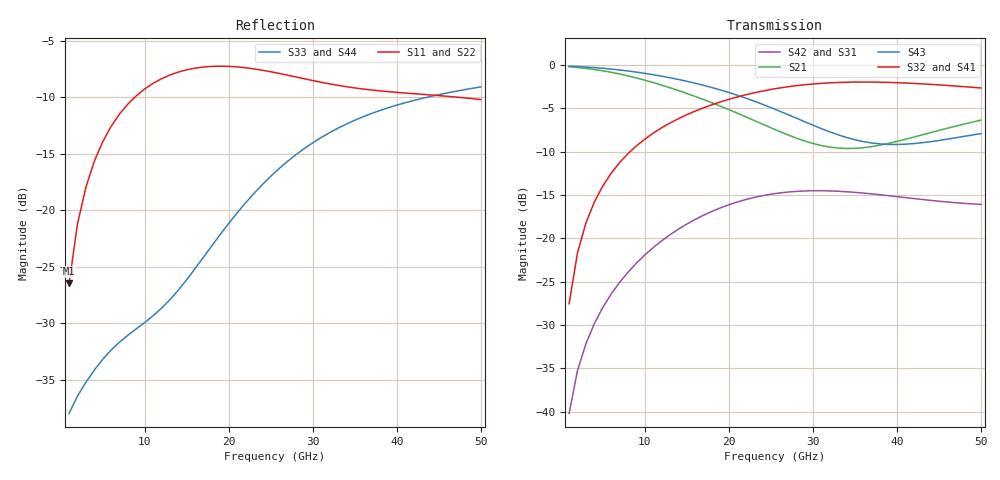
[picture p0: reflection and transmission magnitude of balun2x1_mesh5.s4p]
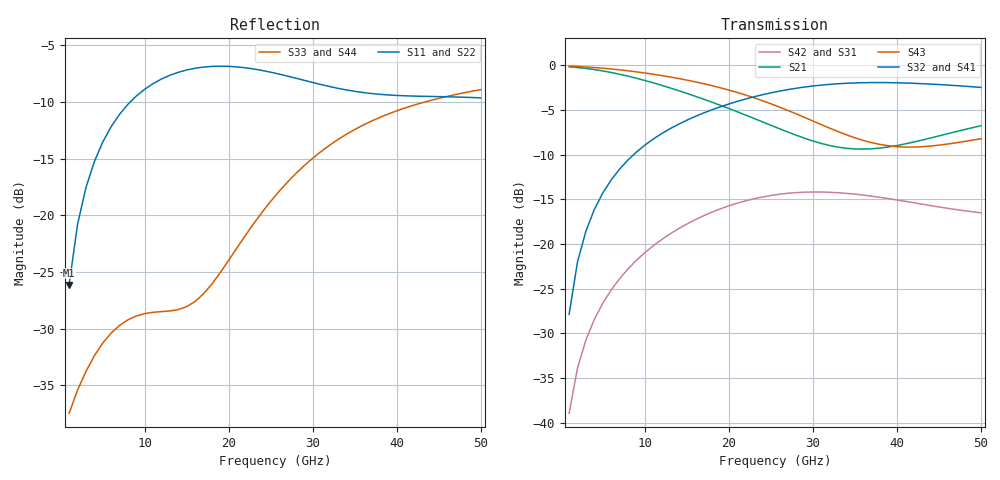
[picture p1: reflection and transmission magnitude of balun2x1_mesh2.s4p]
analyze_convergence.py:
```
#!/usr/bin/env python
"""Mesh convergence analysis for the balun2x1 edge-coupled balun (4-port,
no center tap). Local port order [1:primary+, 2:primary-, 3:secondary+,
4:secondary-] maps directly onto ports 1-4 (PP,PN,S1,S2) -- no port
elimination/dropping is needed here, unlike the 5-port transformer study.

This is a 2:1 turns-ratio balun with real intended system impedances of
Z01=200 ohm differential on the primary and Z02=50 ohm differential on
the secondary (200/50=4, matching the turns ratio squared) -- NOT the
naive 2x50=100 ohm value the raw port_Z0=50.0 single-ended ports would
suggest for a 1:1 structure. Mixed-mode Sdd11/Sdd21/Sdd22 below are
therefore computed at this real, asymmetric reference: the native 4-port
Z-matrix is reduced to the differential-equivalent 2-port
(Zaa,Zab,Zba,Zbb) by antisymmetric combination across each port pair,
then converted to S-parameters via the standard unequal-reference-
impedance 2-port Z->S formula (a real-valued, unambiguous conversion --
not a mixed-mode port-ordering ambiguity):

    Zaa = Z11-Z12-Z21+Z22   (primary)
    Zab = Z13-Z14-Z23+Z24
    Zba = Z31-Z32-Z41+Z42   (== Zab by reciprocity)
    Zbb = Z33-Z34-Z43+Z44

    D     = (Zaa+Z01)*(Zbb+Z02) - Zab*Zba
    Sdd11 = ((Zaa-Z01)*(Zbb+Z02) - Zab*Zba) / D
    Sdd22 = ((Zaa+Z01)*(Zbb-Z02) - Zab*Zba) / D
    Sdd21 = 2*Zba*sqrt(Z01*Z02) / D

(Sanity check: setting Z01=Z02=100 instead reproduces the naive uniform
Bockelman-Eisenstadt Sdd11=0.5*(S11-S12-S21+S22) etc. -- appropriate for
a 1:1 structure like the transformer study -- to within ~1e-4, confirming
this general formula before trusting it at the real Z01=200/Z02=50
asymmetric reference used here.)

See differential_input_impedance.py for the floating-load input
impedance under the same real 50 ohm secondary load, viewed at the same
200 ohm primary reference.

Reads de-embedded 4-port Touchstone files from results/snp/, computes
delta-S tables and overlay plots across mesh variants (order=2 uniform
sweep + AMR), following the same convention as the other mesh
convergence studies in this repo.
"""
import os
import csv
import numpy as np
import skrf as rf
import matplotlib
matplotlib.use("Agg")
import matplotlib.pyplot as plt

HERE = os.path.dirname(os.path.abspath(__file__))
SNP_DIR = os.path.join(HERE, "snp")
PLOT_DIR = os.path.join(HERE, "plots")

UNIFORM_SERIES = [
    ("mesh5", "5 um (uniform)", "balun2x1_mesh5.s4p"),
    ("mesh2", "2 um (uniform)", "balun2x1_mesh2.s4p"),
    ("mesh1", "1 um (uniform)", "balun2x1_mesh1.s4p"),
]
AMR_ENTRY = ("amr2", "AMR (5 um start, 2 it.)", "balun2x1_amr2_final.s4p")

EVAL_FREQS_GHZ = [1, 25, 50]  # sweep edges + midpoint, matches the 1-50 GHz sweep


def load(entry):
    key, label, fname = entry
    path = os.path.join(SNP_DIR, fname)
    if not os.path.isfile(path):
        return None
    nw = rf.Network(path)
    nw.name = label
    return key, label, nw


def db(x):
    return 20 * np.log10(np.abs(x))


def deg(x):
    return np.angle(x, deg=True)


def max_delta_linear(fa, xa, fb, xb):
    common = np.intersect1d(fa, fb)
    if common.size == 0:
        return None
    ia = np.searchsorted(fa, common)
    ib = np.searchsorted(fb, common)
    return float(np.max(np.abs(xb[ib] - xa[ia])))


def delta_db_at_freq(fa, xa, fb, xb, freq_hz):
    ia = int(np.argmin(np.abs(fa - freq_hz)))
    ib = int(np.argmin(np.abs(fb - freq_hz)))
    if abs(fa[ia] - freq_hz) > 0.6e9 or abs(fb[ib] - freq_hz) > 0.6e9:
        return None
    return float(abs(db(xb[ib]) - db(xa[ia])))


PARAMS = ["Sdd11", "Sdd21", "Sdd22"]

Z01 = 200.0  # primary differential reference -- the balun's actual intended system impedance
Z02 = 50.0   # secondary differential reference -- the balun's actual intended system impedance


def sdd_traces(nw, z01=Z01, z02=Z02):
    Z = nw.z
    Zaa = Z[:, 0, 0] - Z[:, 0, 1] - Z[:, 1, 0] + Z[:, 1, 1]
    Zab = Z[:, 0, 2] - Z[:, 0, 3] - Z[:, 1, 2] + Z[:, 1, 3]
    Zba = Z[:, 2, 0] - Z[:, 2, 1] - Z[:, 3, 0] + Z[:, 3, 1]
    Zbb = Z[:, 2, 2] - Z[:, 2, 3] - Z[:, 3, 2] + Z[:, 3, 3]
    D = (Zaa + z01) * (Zbb + z02) - Zab * Zba
    Sdd11 = ((Zaa - z01) * (Zbb + z02) - Zab * Zba) / D
    Sdd22 = ((Zaa + z01) * (Zbb - z02) - Zab * Zba) / D
    Sdd21 = 2 * Zba * np.sqrt(z01 * z02) / D
    return {"Sdd11": Sdd11, "Sdd21": Sdd21, "Sdd22": Sdd22}


def main():
    loaded = []
    for entry in UNIFORM_SERIES:
        result = load(entry)
        if result:
            loaded.append(result)
        else:
            print(f"WARNING: missing {entry[2]}, skipping")
    amr_result = load(AMR_ENTRY)

    if len(loaded) < 2:
        print("Need at least two uniform-mesh results; exiting.")
        return

    traces = {}
    for key, label, nw in loaded + ([amr_result] if amr_result else []):
        traces[key] = (nw.frequency.f, sdd_traces(nw))

    def fmt(x):
        return f"{x:.4f}" if x is not None else "n/a"

    comparisons = [(loaded[i - 1], loaded[i]) for i in range(1, len(loaded))]
    if amr_result:
        comparisons.append((loaded[-1], amr_result))

    csv_path = os.path.join(HERE, "delta_S_table.csv")
    with open(csv_path, "w", newline="") as f:
        writer = csv.writer(f)
        writer.writerow(["Param", "Comparison", "Max|dS| (linear)"] +
                         [f"|dS_dB| at {f}GHz" for f in EVAL_FREQS_GHZ])
        for pname in PARAMS:
            for (key_a, label_a, _), (key_b, label_b, _) in comparisons:
                fa, xa = traces[key_a][0], traces[key_a][1][pname]
                fb, xb = traces[key_b][0], traces[key_b][1][pname]
                max_d = max_delta_linear(fa, xa, fb, xb)
                d_vals = [delta_db_at_freq(fa, xa, fb, xb, f * 1e9) for f in EVAL_FREQS_GHZ]
                writer.writerow([pname, f"{label_a} -> {label_b}", fmt(max_d)] + [fmt(d) for d in d_vals])
    print(f"Wrote delta-S table: {csv_path}")

    ref_key, ref_label, _ = loaded[-1]
    vs_finest = list(loaded[:-1])
    if amr_result:
        vs_finest.append(amr_result)

    csv_path_ref = os.path.join(HERE, "delta_S_vs_finest.csv")
    with open(csv_path_ref, "w", newline="") as f:
        writer = csv.writer(f)
        writer.writerow(["Param", "Mesh", f"Max|dS| vs. {ref_label} (linear)"] +
                         [f"|dS_dB| at {f}GHz" for f in EVAL_FREQS_GHZ])
        for pname in PARAMS:
            for key, label, _ in vs_finest:
                fa, xa = traces[key][0], traces[key][1][pname]
                fb, xb = traces[ref_key][0], traces[ref_key][1][pname]
                max_d = max_delta_linear(fa, xa, fb, xb)
                d_vals = [delta_db_at_freq(fa, xa, fb, xb, f * 1e9) for f in EVAL_FREQS_GHZ]
                writer.writerow([pname, label, fmt(max_d)] + [fmt(d) for d in d_vals])
    print(f"Wrote delta-S-vs-finest table: {csv_path_ref}")

    os.makedirs(PLOT_DIR, exist_ok=True)
    colors = ["#4c72b0", "#dd8452", "#55a868", "#c44e52", "#8172b2", "#937860"]
    all_keys = [k for k, _, _ in loaded] + (["amr2"] if amr_result else [])
    all_labels = {k: l for k, l, _ in loaded}
    if amr_result:
        all_labels[amr_result[0]] = amr_result[1]

    for pname in PARAMS:
        fig, (ax_mag, ax_phase) = plt.subplots(2, 1, figsize=(8, 7), sharex=True)
        for idx, key in enumerate(all_keys):
            freq, pdict = traces[key]
            color = colors[idx % len(colors)]
            style = "--" if key == "amr2" else "-"
            freq_ghz = freq / 1e9
            ax_mag.plot(freq_ghz, db(pdict[pname]), color=color, linestyle=style, label=all_labels[key])
            ax_phase.plot(freq_ghz, deg(pdict[pname]), color=color, linestyle=style, label=all_labels[key])
        ax_mag.set_ylabel(f"|{pname}| (dB)")
        ax_mag.grid(True, alpha=0.3)
        ax_mag.legend(fontsize=8)
        ax_mag.set_title(f"{pname} vs. mesh refinement (Z01={Z01:.0f} ohm primary, Z02={Z02:.0f} ohm secondary)")
        ax_phase.set_xlabel("Frequency (GHz)")
        ax_phase.set_ylabel(f"arg({pname}) (deg)")
        ax_phase.grid(True, alpha=0.3)
        fig.tight_layout()
        out_path = os.path.join(PLOT_DIR, f"{pname.lower()}_convergence.png")
        fig.savefig(out_path, dpi=150)
        plt.close(fig)
        print(f"Wrote plot: {out_path}")


if __name__ == "__main__":
    main()
```
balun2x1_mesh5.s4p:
! Created with skrf 2.1.0 (http://scikit-rf.org).
# GHz S DB R 50.0
! Port[1] = P1
! Port[2] = P2
! Port[3] = P3
! Port[4] = P4
!freq dBS11 angS11 dBS12 angS12 dBS13 angS13
! dBS14 angS14
! dBS21 angS21 dBS22 angS22 dBS23 angS23
! dBS24 angS24
! dBS31 angS31 dBS32 angS32 dBS33 angS33
! dBS34 angS34
! dBS41 angS41 dBS42 angS42 dBS43 angS43
! dBS44 angS44
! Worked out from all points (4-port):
!   50 points, 1 GHz to 50 GHz, reference 50 ohm
!   strongest paths, dB at 1 GHz, 13 GHz, 26 GHz, 38 GHz, 50 GHz:
!     S32: -27.5, -6.7, -2.6, -2.0, -2.6
!     S41: -27.5, -6.7, -2.7, -2.0, -2.7
!     S43: -0.1, -1.5, -5.3, -9.1, -7.9
!     S21: -0.2, -2.6, -7.6, -9.2, -6.4
!     S42: -40.2, -19.6, -14.8, -15.0, -16.1
!     S31: -40.2, -19.7, -14.9, -15.2, -16.1
!   lowest |S11| = -26.5 dB at 1 GHz (marker M1), VSWR 1.10, Z = 52 + j4.43 ohm
!   |S11| at or under -10 dB: start of sweep to 8.832 GHz; 47.09 GHz to end of sweep
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1  -26.47 63.7  -0.19 -5.4  -40.18 -112.0  -27.52 84.5
   -0.19 -5.4  -26.47 63.7  -27.52 84.4  -40.17 -112.1
   -40.18 -112.0  -27.52 84.4  -37.97 15.8  -0.12 -2.7
   -27.52 84.5  -40.17 -112.1  -0.12 -2.7  -37.96 15.8
27  -8.06 -18.2  -8.03 -139.3  -14.83 59.6  -2.52 -0.0
    -8.03 -139.3  -8.23 -19.9  -2.50 -0.2  -14.65 57.7
    -14.83 59.6  -2.50 -0.2  -15.68 170.7  -5.69 -51.1
    -2.52 -0.0  -14.65 57.7  -5.69 -51.1  -15.49 170.3
50  -10.22 -45.6  -6.35 80.1  -16.15 -7.6  -2.67 -56.1
    -6.35 80.1  -10.58 -46.3  -2.64 -56.7  -16.06 -11.7
    -16.15 -7.6  -2.64 -56.7  -9.10 91.1  -7.90 -26.5
    -2.67 -56.1  -16.06 -11.7  -7.90 -26.5  -8.93 90.2
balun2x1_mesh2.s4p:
! Created with skrf 2.1.0 (http://scikit-rf.org).
# GHz S DB R 50.0
! Port[1] = P1
! Port[2] = P2
! Port[3] = P3
! Port[4] = P4
!freq dBS11 angS11 dBS12 angS12 dBS13 angS13
! dBS14 angS14
! dBS21 angS21 dBS22 angS22 dBS23 angS23
! dBS24 angS24
! dBS31 angS31 dBS32 angS32 dBS33 angS33
! dBS34 angS34
! dBS41 angS41 dBS42 angS42 dBS43 angS43
! dBS44 angS44
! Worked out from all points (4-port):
!   50 points, 1 GHz to 50 GHz, reference 50 ohm
!   strongest paths, dB at 1 GHz, 13 GHz, 26 GHz, 38 GHz, 50 GHz:
!     S32: -27.9, -7.1, -2.9, -2.0, -2.5
!     S41: -27.9, -7.1, -2.9, -2.0, -2.5
!     S43: -0.1, -1.3, -4.7, -8.9, -8.2
!     S21: -0.2, -2.5, -7.1, -9.3, -6.8
!     S42: -38.9, -18.9, -14.4, -14.8, -16.5
!     S31: -39.0, -18.9, -14.6, -15.0, -16.7
!   lowest |S11| = -26.1 dB at 1 GHz (marker M1), VSWR 1.10, Z = 52 + j4.64 ohm
!   |S11| at or under -10 dB: start of sweep to 8.294 GHz
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1  -26.14 64.6  -0.19 -5.3  -38.95 -109.4  -27.87 84.5
   -0.19 -5.3  -26.14 64.5  -27.87 84.4  -38.95 -109.5
   -38.95 -109.4  -27.87 84.4  -37.47 23.3  -0.12 -2.6
   -27.87 84.5  -38.95 -109.5  -0.12 -2.6  -37.47 23.3
28  -7.92 -18.7  -7.83 -138.0  -14.43 61.5  -2.61 0.1
    -7.83 -138.0  -8.08 -20.3  -2.59 -0.1  -14.26 59.8
    -14.43 61.5  -2.59 -0.1  -16.31 168.0  -5.45 -52.5
    -2.61 0.1  -14.26 59.8  -5.45 -52.5  -16.11 167.9
50  -9.65 -37.8  -6.78 87.9  -16.69 -7.3  -2.54 -54.0
    -6.78 87.9  -10.01 -38.2  -2.49 -54.5  -16.52 -11.7
    -16.69 -7.3  -2.49 -54.5  -8.92 89.4  -8.24 -29.3
    -2.54 -54.0  -16.52 -11.7  -8.24 -29.3  -8.76 88.8
